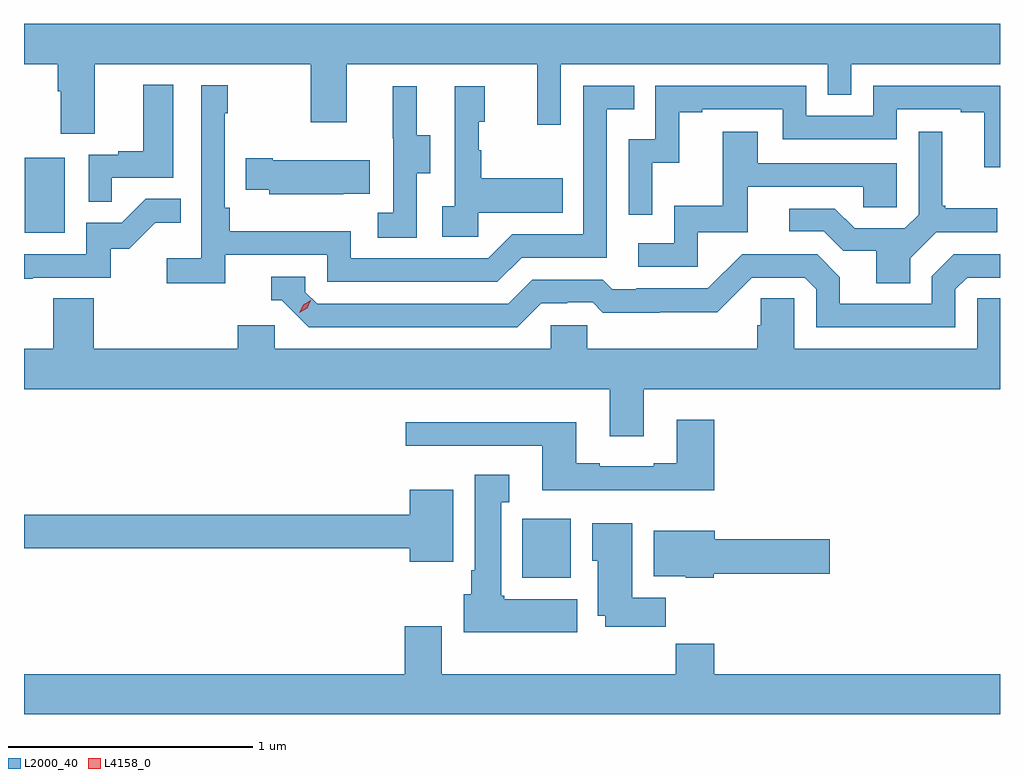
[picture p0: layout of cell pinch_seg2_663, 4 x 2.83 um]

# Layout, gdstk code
import gdstk
lib = gdstk.Library(unit=1e-6, precision=1e-09)
def R(c, l, rs):  # rectangles x0, y0, x1, y1
    for r in rs: c.add(gdstk.rectangle(r[:2], r[2:], *l))
def P(c, l, *ps):  # polygons
    for p in ps: c.add(gdstk.Polygon(p, *l))
L2000_40 = (2000, 40)
L4158_0 = (4158, 0)

pinch_seg2_663 = lib.new_cell('pinch_seg2_663')
R(pinch_seg2_663, L2000_40, [(1020.728,596.246,1020.925,596.488), (1018.688,597.66,1018.852,597.967)])
P(pinch_seg2_663, L2000_40, [(1018.975,598.352),(1019.86,598.352),(1019.86,598.113),(1020.007,598.113),(1020.007,598.352),(1020.788,598.352),(1020.788,598.104),(1020.885,598.104),(1020.885,598.352),(1021.98,598.352),(1021.98,598.225),(1022.076,598.225),(1022.076,598.352),(1022.685,598.352),(1022.685,598.516),(1018.685,598.516),(1018.685,598.352),(1018.823,598.352),(1018.823,598.24),(1018.835,598.24),(1018.835,598.066),(1018.975,598.066)],
  [(1019.045,597.885),(1019.296,597.885),(1019.296,598.267),(1019.174,598.267),(1019.174,597.994),(1019.071,597.994),(1019.071,597.981),(1018.95,597.981),(1018.95,597.787),(1019.045,597.787)],
  [(1019.51,597.57),(1019.928,597.57),(1019.928,597.459),(1020.625,597.459),(1020.724,597.558),(1021.074,597.558),(1021.074,598.167),(1021.187,598.167),(1021.187,598.263),(1020.978,598.263),(1020.978,597.654),(1020.687,597.654),(1020.588,597.555),(1020.024,597.555),(1020.024,597.667),(1019.528,597.667),(1019.528,597.763),(1019.508,597.763),(1019.508,598.151),(1019.521,598.151),(1019.521,598.264),(1019.412,598.264),(1019.412,597.556),(1019.271,597.556),(1019.271,597.454),(1019.51,597.454)],
  [(1021.26,597.947),(1021.37,597.947),(1021.37,598.155),(1021.465,598.155),(1021.465,598.167),(1021.794,598.167),(1021.794,598.044),(1022.262,598.044),(1022.262,598.167),(1022.525,598.167),(1022.525,598.155),(1022.621,598.155),(1022.621,597.929),(1022.685,597.929),(1022.685,598.263),(1022.166,598.263),(1022.166,598.14),(1021.89,598.14),(1021.89,598.263),(1021.272,598.263),(1021.272,598.044),(1021.164,598.044),(1021.164,597.735),(1021.26,597.735)],
  [(1020.546,597.743),(1020.893,597.743),(1020.893,597.883),(1020.559,597.883),(1020.559,597.998),(1020.549,597.998),(1020.549,598.116),(1020.574,598.116),(1020.574,598.261),(1020.45,598.261),(1020.45,597.77),(1020.399,597.77),(1020.399,597.645),(1020.546,597.645)],
  [(1020.294,597.904),(1020.349,597.904),(1020.349,598.059),(1020.295,598.059),(1020.295,598.261),(1020.197,598.261),(1020.197,598.047),(1020.198,598.047),(1020.198,597.743),(1020.135,597.743),(1020.135,597.64),(1020.294,597.64)],
  [(1022.317,597.556),(1022.424,597.663),(1022.674,597.663),(1022.674,597.76),(1022.461,597.76),(1022.461,597.772),(1022.449,597.772),(1022.449,598.075),(1022.352,598.075),(1022.352,597.735),(1022.295,597.678),(1022.089,597.678),(1022.008,597.759),(1021.821,597.759),(1021.821,597.666),(1021.962,597.666),(1022.042,597.586),(1022.177,597.586),(1022.177,597.454),(1022.317,597.454)],
  [(1021.446,597.663),(1021.651,597.663),(1021.651,597.849),(1022.125,597.849),(1022.125,597.765),(1022.262,597.765),(1022.262,597.945),(1021.693,597.945),(1021.693,598.075),(1021.549,598.075),(1021.549,597.772),(1021.35,597.772),(1021.35,597.618),(1021.203,597.618),(1021.203,597.522),(1021.446,597.522)],
  [(1019.993,597.821),(1020.101,597.821),(1020.101,597.958),(1019.704,597.958),(1019.704,597.966),(1019.593,597.966),(1019.593,597.836),(1019.691,597.836),(1019.691,597.818),(1019.993,597.818)],
  [(1018.721,597.477),(1019.04,597.477),(1019.04,597.594),(1019.116,597.594),(1019.223,597.701),(1019.327,597.701),(1019.327,597.8),(1019.184,597.8),(1019.086,597.702),(1018.941,597.702),(1018.941,597.573),(1018.685,597.573),(1018.685,597.472),(1018.721,597.472)],
  [(1020.805,597.372),(1020.912,597.372),(1020.912,597.375),(1021.015,597.375),(1021.057,597.333),(1021.29,597.333),(1021.29,597.335),(1021.526,597.335),(1021.668,597.477),(1021.884,597.477),(1021.932,597.429),(1021.932,597.273),(1022.502,597.273),(1022.502,597.429),(1022.55,597.477),(1022.685,597.477),(1022.685,597.573),(1022.496,597.573),(1022.406,597.483),(1022.406,597.369),(1022.029,597.369),(1022.029,597.479),(1021.935,597.573),(1021.629,597.573),(1021.488,597.432),(1021.195,597.432),(1021.195,597.429),(1021.096,597.429),(1021.057,597.468),(1020.768,597.468),(1020.669,597.369),(1019.886,597.369),(1019.838,597.417),(1019.838,597.48),(1019.699,597.48),(1019.699,597.384),(1019.742,597.384),(1019.853,597.273),(1020.706,597.273)],
  [(1021.225,597.02),(1022.685,597.02),(1022.685,597.392),(1022.592,597.392),(1022.592,597.184),(1021.842,597.184),(1021.842,597.392),(1021.705,597.392),(1021.705,597.282),(1021.691,597.282),(1021.691,597.184),(1020.993,597.184),(1020.993,597.282),(1020.843,597.282),(1020.843,597.184),(1019.712,597.184),(1019.712,597.282),(1019.561,597.282),(1019.561,597.184),(1018.97,597.184),(1018.97,597.392),(1018.805,597.392),(1018.805,597.184),(1018.685,597.184),(1018.685,597.02),(1021.085,597.02),(1021.085,596.826),(1021.225,596.826)],
  [(1021.514,596.893),(1021.361,596.893),(1021.361,596.716),(1021.265,596.716),(1021.265,596.703),(1021.045,596.703),(1021.045,596.716),(1020.949,596.716),(1020.949,596.884),(1020.249,596.884),(1020.249,596.787),(1020.809,596.787),(1020.809,596.606),(1021.514,596.606)],
  [(1020.952,596.158),(1020.654,596.158),(1020.654,596.172),(1020.64,596.172),(1020.64,596.555),(1020.673,596.555),(1020.673,596.668),(1020.533,596.668),(1020.533,596.278),(1020.518,596.278),(1020.518,596.178),(1020.488,596.178),(1020.488,596.024),(1020.952,596.024)],
  [(1020.445,596.608),(1020.266,596.608),(1020.266,596.504),(1018.685,596.504),(1018.685,596.368),(1020.266,596.368),(1020.266,596.312),(1020.445,596.312)],
  [(1021.316,596.164),(1021.177,596.164),(1021.177,596.47),(1021.013,596.47),(1021.013,596.316),(1021.037,596.316),(1021.037,596.09),(1021.067,596.09),(1021.067,596.046),(1021.316,596.046)],
  [(1021.512,596.263),(1021.987,596.263),(1021.987,596.405),(1021.516,596.405),(1021.516,596.44),(1021.265,596.44),(1021.265,596.252),(1021.398,596.252),(1021.398,596.246),(1021.512,596.246)],
  [(1022.685,595.852),(1021.514,595.852),(1021.514,595.976),(1021.357,595.976),(1021.357,595.852),(1020.397,595.852),(1020.397,596.047),(1020.245,596.047),(1020.245,595.852),(1018.685,595.852),(1018.685,595.688),(1022.685,595.688)])
P(pinch_seg2_663, L4158_0, [(1019.813,597.332),(1019.813,597.332),(1019.83,597.365),(1019.861,597.384),(1019.861,597.384),(1019.861,597.384),(1019.845,597.351),(1019.814,597.332)])

lib.write_gds('pinch_seg2_663.gds')
